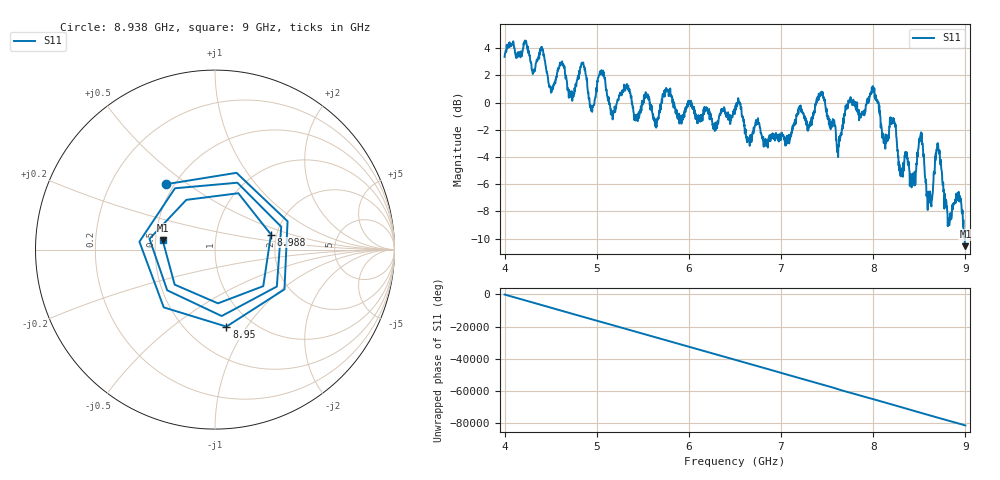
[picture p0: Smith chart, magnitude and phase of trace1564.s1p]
! Created with skrf 1.8.0 (http://scikit-rf.org).
# Hz S RI R 50.0
!freq ReS11 ImS11
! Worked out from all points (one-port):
!   1601 points, 4 GHz to 9 GHz, reference 50 ohm
!   lowest |S11| = -10.6 dB at 9 GHz (marker M1), VSWR 1.84, Z = 27.3 + j3.13 ohm
!   |S11| at or under -10 dB: 8.992644 GHz to end of sweep
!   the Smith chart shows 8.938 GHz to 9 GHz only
!   S11 on the Smith chart (normalised r, x): 8.938 GHz: 0.45, +0.42; 8.95 GHz: 0.77, -0.81; 8.988 GHz: 1.86, +0.35; 9 GHz: 0.55, +0.06
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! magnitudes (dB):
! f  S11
! 4 GHz  3.4
! 4.625 GHz  3.0
! 4.731 GHz  0.5
! 4.853 GHz  2.9
! 4.947 GHz  -0.4
! 5.05 GHz  2.4
! 5.166 GHz  -0.9
! 5.25 GHz  0.5
! 5.875 GHz  -0.8
! 6.5 GHz  -0.5
! 6.647 GHz  -2.8
! 7.125 GHz  -1.7
! 7.434 GHz  0.7
! 7.622 GHz  -3.1
! 7.75 GHz  0.3
! 8 GHz  0.9
! 8.122 GHz  -3.0
! 8.206 GHz  -1.4
! 8.375 GHz  -4.5
! 8.438 GHz  -5.4
! 8.516 GHz  -2.3
! 8.612 GHz  -6.9
! 8.703 GHz  -3.0
! 8.822 GHz  -8.8
! 8.938 GHz  -6.9
! 8.95 GHz  -7.3
! 8.988 GHz  -9.8
! 9 GHz  -10.6
